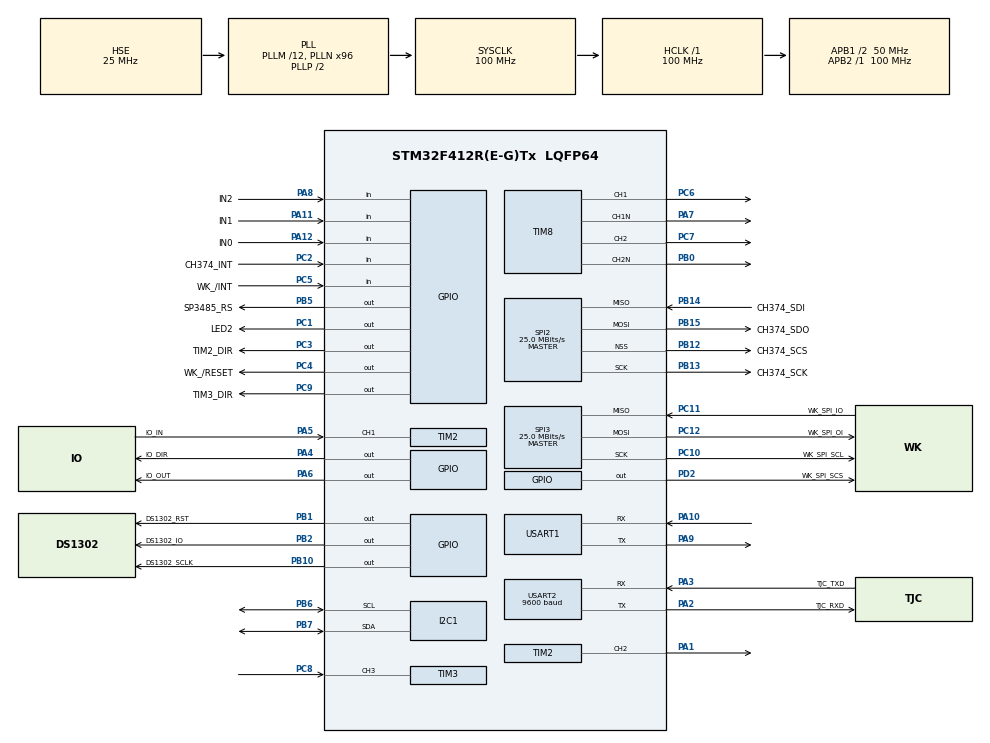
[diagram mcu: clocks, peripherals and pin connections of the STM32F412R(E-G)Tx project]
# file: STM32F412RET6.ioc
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Dma.Request0=USART2_RX
Dma.Request1=USART2_TX
Dma.Request2=USART1_RX
Dma.Request3=USART1_TX
Dma.USART1_RX.2.Direction=DMA_PERIPH_TO_MEMORY
Dma.USART1_RX.2.FIFOMode=DMA_FIFOMODE_DISABLE
Dma.USART1_RX.2.Instance=DMA2_Stream2
Dma.USART1_RX.2.MemDataAlignment=DMA_MDATAALIGN_BYTE
Dma.USART1_RX.2.MemInc=DMA_MINC_ENABLE
Dma.USART1_RX.2.Mode=DMA_NORMAL
Dma.USART1_RX.2.PeriphDataAlignment=DMA_PDATAALIGN_BYTE
Dma.USART1_RX.2.PeriphInc=DMA_PINC_DISABLE
Dma.USART1_RX.2.Priority=DMA_PRIORITY_LOW
Dma.USART1_TX.3.Direction=DMA_MEMORY_TO_PERIPH
Dma.USART1_TX.3.FIFOMode=DMA_FIFOMODE_DISABLE
Dma.USART1_TX.3.Instance=DMA2_Stream7
Dma.USART1_TX.3.MemDataAlignment=DMA_MDATAALIGN_BYTE
Dma.USART1_TX.3.MemInc=DMA_MINC_ENABLE
Dma.USART1_TX.3.Mode=DMA_NORMAL
Dma.USART1_TX.3.PeriphDataAlignment=DMA_PDATAALIGN_BYTE
Dma.USART1_TX.3.PeriphInc=DMA_PINC_DISABLE
Dma.USART1_TX.3.Priority=DMA_PRIORITY_LOW
Dma.USART2_RX.0.Direction=DMA_PERIPH_TO_MEMORY
Dma.USART2_RX.0.FIFOMode=DMA_FIFOMODE_DISABLE
Dma.USART2_RX.0.Instance=DMA1_Stream5
Dma.USART2_RX.0.MemDataAlignment=DMA_MDATAALIGN_BYTE
Dma.USART2_RX.0.MemInc=DMA_MINC_ENABLE
Dma.USART2_RX.0.Mode=DMA_NORMAL
Dma.USART2_RX.0.PeriphDataAlignment=DMA_PDATAALIGN_BYTE
Dma.USART2_RX.0.PeriphInc=DMA_PINC_DISABLE
Dma.USART2_RX.0.Priority=DMA_PRIORITY_LOW
Dma.USART2_TX.1.Direction=DMA_MEMORY_TO_PERIPH
Dma.USART2_TX.1.FIFOMode=DMA_FIFOMODE_DISABLE
Dma.USART2_TX.1.Instance=DMA1_Stream6
Dma.USART2_TX.1.MemDataAlignment=DMA_MDATAALIGN_BYTE
Dma.USART2_TX.1.MemInc=DMA_MINC_ENABLE
Dma.USART2_TX.1.Mode=DMA_NORMAL
Dma.USART2_TX.1.PeriphDataAlignment=DMA_PDATAALIGN_BYTE
Dma.USART2_TX.1.PeriphInc=DMA_PINC_DISABLE
Dma.USART2_TX.1.Priority=DMA_PRIORITY_LOW
FREERTOS.Queues01=Pulse_Reception_Queue,5,uint8_t,0,Dynamic,NULL,NULL;Pulse_Sending_Queue,5,uint8_t,0,Dynamic,NULL,NULL
FREERTOS.Tasks01=defaultTask,24,128,StartDefaultTask,Default,NULL,Dynamic,NULL,NULL;Pulse_acquisitionTask,8,128,Pulse_acquisition,Default,NULL,Dynamic,NULL,NULL;ScreenTask,8,128,Screen,Default,NULL,Dynamic,NULL,NULL;Screen_TransferTask,8,128,Screen_Transfer,Default,NULL,Dynamic,NULL,NULL
FREERTOS.configMAX_TASK_NAME_LEN=32
I2C1.I2C_Mode=I2C_Fast
Mcu.Family=STM32F4
Mcu.Name=STM32F412R(E-G)Tx
Mcu.Package=LQFP64
NVIC.DMA1_Stream5_IRQn=true\:5\:0\:false\:false\:true\:true\:false\:true\:true
NVIC.DMA1_Stream6_IRQn=true\:5\:0\:false\:false\:true\:true\:false\:true\:true
NVIC.DMA2_Stream2_IRQn=true\:5\:0\:false\:false\:true\:true\:false\:true\:true
NVIC.DMA2_Stream7_IRQn=true\:5\:0\:false\:false\:true\:true\:false\:true\:true
NVIC.I2C1_ER_IRQn=true\:5\:0\:false\:false\:true\:true\:true\:true\:true
NVIC.I2C1_EV_IRQn=true\:5\:0\:false\:false\:true\:true\:true\:true\:true
NVIC.PriorityGroup=NVIC_PRIORITYGROUP_4
NVIC.SPI3_IRQn=true\:5\:0\:false\:false\:true\:true\:true\:true\:true
NVIC.TIM1_UP_TIM10_IRQn=true\:15\:0\:false\:false\:true\:false\:false\:true\:true
NVIC.TIM2_IRQn=true\:5\:0\:false\:false\:true\:true\:true\:true\:true
NVIC.TIM3_IRQn=true\:5\:0\:false\:false\:true\:true\:true\:true\:true
NVIC.TIM8_BRK_TIM12_IRQn=true\:5\:0\:false\:false\:true\:true\:true\:true\:true
NVIC.TIM8_CC_IRQn=true\:5\:0\:false\:false\:true\:true\:true\:true\:true
NVIC.TIM8_TRG_COM_TIM14_IRQn=true\:5\:0\:false\:false\:true\:true\:true\:true\:true
NVIC.TIM8_UP_TIM13_IRQn=true\:5\:0\:false\:false\:true\:true\:true\:true\:true
NVIC.TimeBase=TIM1_UP_TIM10_IRQn
NVIC.TimeBaseIP=TIM1
NVIC.USART1_IRQn=true\:5\:0\:false\:false\:true\:true\:true\:true\:true
NVIC.USART2_IRQn=true\:5\:0\:false\:false\:true\:true\:true\:true\:true
PA1.Signal=S_TIM2_CH2
PA10.Mode=Asynchronous
PA10.Signal=USART1_RX
PA11.GPIO_Label=IN1
PA11.Signal=GPIO_Input
PA12.GPIO_Label=IN0
PA12.Signal=GPIO_Input
PA13.GPIO_Label=TMS
PA13.Mode=JTAG_5_pins
PA13.Signal=SYS_JTMS-SWDIO
PA14.GPIO_Label=TCK
PA14.Mode=JTAG_5_pins
PA14.Signal=SYS_JTCK-SWCLK
PA15.GPIO_Label=TDI
PA15.Mode=JTAG_5_pins
PA15.Signal=SYS_JTDI
PA2.GPIO_Label=TJC_RXD
PA2.Mode=Asynchronous
PA2.Signal=USART2_TX
PA3.GPIO_Label=TJC_TXD
PA3.Mode=Asynchronous
PA3.Signal=USART2_RX
PA4.GPIO_Label=IO_DIR
PA4.Signal=GPIO_Output
PA5.GPIO_Label=IO_IN
PA5.GPIO_PuPd=GPIO_PULLDOWN
PA5.Signal=S_TIM2_CH1_ETR
PA6.GPIO_Label=IO_OUT
PA6.Signal=GPIO_Output
PA7.Mode=Output Compare1 CH1 CH1N
PA7.Signal=TIM8_CH1N
PA8.GPIO_Label=IN2
PA8.Signal=GPIO_Input
PA9.Mode=Asynchronous
PA9.Signal=USART1_TX
PB0.Mode=Output Compare2 CH2 CH2N
PB0.Signal=TIM8_CH2N
PB1.GPIO_Label=DS1302_RST
PB1.Signal=GPIO_Output
PB10.GPIO_Label=DS1302_SCLK
PB10.GPIO_PuPd=GPIO_PULLUP
PB10.Signal=GPIO_Output
PB12.GPIO_Label=CH374_SCS
PB12.Mode=NSS_Signal_Hard_Output
PB12.Signal=SPI2_NSS
PB13.GPIO_Label=CH374_SCK
PB13.Mode=Full_Duplex_Master
PB13.Signal=SPI2_SCK
PB14.GPIO_Label=CH374_SDI
PB14.Mode=Full_Duplex_Master
PB14.Signal=SPI2_MISO
PB15.GPIO_Label=CH374_SDO
PB15.Mode=Full_Duplex_Master
PB15.Signal=SPI2_MOSI
PB2.GPIO_Label=DS1302_IO
PB2.Signal=GPIO_Output
PB3.GPIO_Label=TDO
PB3.Mode=JTAG_5_pins
PB3.Signal=SYS_JTDO-SWO
PB4.GPIO_Label=NTRST
PB4.Mode=JTAG_5_pins
PB4.Signal=SYS_JTRST
PB5.GPIO_Label=SP3485_RS
PB5.Signal=GPIO_Output
PB6.Mode=I2C
PB6.Signal=I2C1_SCL
PB7.Mode=I2C
PB7.Signal=I2C1_SDA
PC1.GPIO_Label=LED2
PC1.GPIO_PuPd=GPIO_PULLUP
PC1.Signal=GPIO_Output
PC10.GPIO_Label=WK_SPI_SCL
PC10.Mode=Full_Duplex_Master
PC10.Signal=SPI3_SCK
PC11.GPIO_Label=WK_SPI_IO
PC11.Mode=Full_Duplex_Master
PC11.Signal=SPI3_MISO
PC12.GPIO_Label=WK_SPI_OI
PC12.Mode=Full_Duplex_Master
PC12.Signal=SPI3_MOSI
PC2.GPIO_Label=CH374_INT
PC2.Signal=GPIO_Input
PC3.GPIO_Label=TIM2_DIR
PC3.Signal=GPIO_Output
PC4.GPIO_Label=WK_/RESET
PC4.Signal=GPIO_Output
PC5.GPIO_Label=WK_/INT
PC5.Signal=GPIO_Input
PC6.Signal=S_TIM8_CH1
PC7.Signal=S_TIM8_CH2
PC8.Signal=S_TIM3_CH3
PC9.GPIO_Label=TIM3_DIR
PC9.Signal=GPIO_Output
PD2.GPIO_Label=WK_SPI_SCS
PD2.GPIO_PuPd=GPIO_PULLUP
PD2.Signal=GPIO_Output
PH0\ -\ OSC_IN.Mode=HSE-External-Oscillator
PH0\ -\ OSC_IN.Signal=RCC_OSC_IN
PH1\ -\ OSC_OUT.Mode=HSE-External-Oscillator
PH1\ -\ OSC_OUT.Signal=RCC_OSC_OUT
ProjectManager.HeapSize=0x200
ProjectManager.StackSize=0x400
ProjectManager.TargetToolchain=MDK-ARM V5.32
RCC.AHBFreq_Value=100000000
RCC.APB1CLKDivider=RCC_HCLK_DIV2
RCC.APB1Freq_Value=50000000
RCC.APB1TimFreq_Value=100000000
RCC.APB2Freq_Value=100000000
RCC.APB2TimFreq_Value=100000000
RCC.CortexFreq_Value=100000000
RCC.HCLKFreq_Value=100000000
RCC.PLLM=12
RCC.PLLN=96
RCC.PLLSourceVirtual=RCC_PLLSOURCE_HSE
RCC.SYSCLKFreq_VALUE=100000000
RCC.SYSCLKSource=RCC_SYSCLKSOURCE_PLLCLK
RCC.USBFreq_Value=100000000
RCC.VCOOutputFreq_Value=200000000
SH.S_TIM2_CH1_ETR.0=TIM2_CH1,Input_Capture1_from_TI1
SH.S_TIM2_CH2.0=TIM2_CH2,Output Compare2 CH2
SH.S_TIM3_CH3.0=TIM3_CH3,Input_Capture3_from_TI3
SH.S_TIM8_CH1.0=TIM8_CH1,Output Compare1 CH1 CH1N
SH.S_TIM8_CH2.0=TIM8_CH2,Output Compare2 CH2 CH2N
SPI2.CalculateBaudRate=25.0 MBits/s
SPI2.Direction=SPI_DIRECTION_2LINES
SPI2.Mode=SPI_MODE_MASTER
SPI2.VirtualNSS=VM_NSSHARD
SPI2.VirtualType=VM_MASTER
SPI3.CLKPhase=SPI_PHASE_2EDGE
SPI3.CalculateBaudRate=25.0 MBits/s
SPI3.Direction=SPI_DIRECTION_2LINES
SPI3.Mode=SPI_MODE_MASTER
SPI3.VirtualType=VM_MASTER
TIM2.Channel-Input_Capture1_from_TI1=TIM_CHANNEL_1
TIM2.Channel-Output\ Compare2\ CH2=TIM_CHANNEL_2
TIM2.ICPolarity_CH1=TIM_INPUTCHANNELPOLARITY_BOTHEDGE
TIM2.Period=999
TIM2.Prescaler=99
TIM3.Channel-Input_Capture3_from_TI3=TIM_CHANNEL_3
TIM8.Channel-Output\ Compare1\ CH1\ CH1N=TIM_CHANNEL_1
TIM8.Channel-Output\ Compare2\ CH2\ CH2N=TIM_CHANNEL_2
USART1.VirtualMode=VM_ASYNC
USART2.BaudRate=9600
USART2.VirtualMode=VM_ASYNC
VP_FREERTOS_VS_CMSIS_V2.Mode=CMSIS_V2
VP_SYS_VS_tim1.Mode=TIM1
board=custom

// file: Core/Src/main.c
/* USER CODE BEGIN Header */
/**
  ******************************************************************************
  * @file           : main.c
  * @brief          : Main program body
  ******************************************************************************
  * @attention
  *
  * Copyright (c) 2024 STMicroelectronics.
  * All rights reserved.
  *
  * This software is licensed under terms that can be found in the LICENSE file
  * in the root directory of this software component.
  * If no LICENSE file comes with this software, it is provided AS-IS.
  *
  ******************************************************************************
  */
/* USER CODE END Header */
#include "main.h"
#include "cmsis_os.h"
#include "dma.h"
#include "i2c.h"
#include "spi.h"
#include "tim.h"
#include "usart.h"
#include "gpio.h"

void SystemClock_Config(void);
void MX_FREERTOS_Init(void);

int main(void)
{

  /* MCU Configuration--------------------------------------------------------*/

  /* Reset of all peripherals, Initializes the Flash interface and the Systick. */
  HAL_Init();

  /* Configure the system clock */
  SystemClock_Config();

  /* Initialize all configured peripherals */
  MX_GPIO_Init();
  MX_DMA_Init();
  MX_TIM2_Init();
  MX_USART2_UART_Init();
  MX_USART1_UART_Init();
  MX_I2C1_Init();
  MX_SPI2_Init();
  MX_SPI3_Init();
  MX_TIM3_Init();
  MX_TIM8_Init();

  /* Init scheduler */
  osKernelInitialize();  /* Call init function for freertos objects (in freertos.c) */
  MX_FREERTOS_Init();

  /* Start scheduler */
  osKernelStart();

  /* We should never get here as control is now taken by the scheduler */
  /* Infinite loop */
  while (1)
  {

  }
}

void SystemClock_Config(void)
{
  RCC_OscInitTypeDef RCC_OscInitStruct = {0};
  RCC_ClkInitTypeDef RCC_ClkInitStruct = {0};

  /** Configure the main internal regulator output voltage
  */
  __HAL_RCC_PWR_CLK_ENABLE();
  __HAL_PWR_VOLTAGESCALING_CONFIG(PWR_REGULATOR_VOLTAGE_SCALE1);

  /** Initializes the RCC Oscillators according to the specified parameters
  * in the RCC_OscInitTypeDef structure.
  */
  RCC_OscInitStruct.OscillatorType = RCC_OSCILLATORTYPE_HSE;
  RCC_OscInitStruct.HSEState = RCC_HSE_ON;
  RCC_OscInitStruct.PLL.PLLState = RCC_PLL_ON;
  RCC_OscInitStruct.PLL.PLLSource = RCC_PLLSOURCE_HSE;
  RCC_OscInitStruct.PLL.PLLM = 12;
  RCC_OscInitStruct.PLL.PLLN = 96;
  RCC_OscInitStruct.PLL.PLLP = RCC_PLLP_DIV2;
  RCC_OscInitStruct.PLL.PLLQ = 2;
  RCC_OscInitStruct.PLL.PLLR = 2;
  if (HAL_RCC_OscConfig(&RCC_OscInitStruct) != HAL_OK)
  {
    Error_Handler();
  }

  /** Initializes the CPU, AHB and APB buses clocks
  */
  RCC_ClkInitStruct.ClockType = RCC_CLOCKTYPE_HCLK|RCC_CLOCKTYPE_SYSCLK
                              |RCC_CLOCKTYPE_PCLK1|RCC_CLOCKTYPE_PCLK2;
  RCC_ClkInitStruct.SYSCLKSource = RCC_SYSCLKSOURCE_PLLCLK;
  RCC_ClkInitStruct.AHBCLKDivider = RCC_SYSCLK_DIV1;
  RCC_ClkInitStruct.APB1CLKDivider = RCC_HCLK_DIV2;
  RCC_ClkInitStruct.APB2CLKDivider = RCC_HCLK_DIV1;

  if (HAL_RCC_ClockConfig(&RCC_ClkInitStruct, FLASH_LATENCY_3) != HAL_OK)
  {
    Error_Handler();
  }
}

void HAL_TIM_PeriodElapsedCallback(TIM_HandleTypeDef *htim)
{
  if (htim->Instance == TIM1) {
    HAL_IncTick();
  }
}

void Error_Handler(void)
{
  __disable_irq();
  while (1)
  {
  }
}

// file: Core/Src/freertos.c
/* USER CODE BEGIN Header */
/**
  ******************************************************************************
  * File Name          : freertos.c
  * Description        : Code for freertos applications
  ******************************************************************************
  * @attention
  *
  * Copyright (c) 2024 STMicroelectronics.
  * All rights reserved.
  *
  * This software is licensed under terms that can be found in the LICENSE file
  * in the root directory of this software component.
  * If no LICENSE file comes with this software, it is provided AS-IS.
  *
  ******************************************************************************
  */
/* USER CODE END Header */

#include "FreeRTOS.h"
#include "task.h"
#include "main.h"
#include "cmsis_os.h"

/* Definitions for defaultTask */
osThreadId_t defaultTaskHandle;
const osThreadAttr_t defaultTask_attributes = {
  .name = "defaultTask",
  .stack_size = 128 * 4,
  .priority = (osPriority_t) osPriorityNormal,
};
/* Definitions for Pulse_acquisitionTask */
osThreadId_t Pulse_acquisitionTaskHandle;
const osThreadAttr_t Pulse_acquisitionTask_attributes = {
  .name = "Pulse_acquisitionTask",
  .stack_size = 128 * 4,
  .priority = (osPriority_t) osPriorityLow,
};
/* Definitions for ScreenTask */
osThreadId_t ScreenTaskHandle;
const osThreadAttr_t ScreenTask_attributes = {
  .name = "ScreenTask",
  .stack_size = 128 * 4,
  .priority = (osPriority_t) osPriorityLow,
};
/* Definitions for Screen_TransferTask */
osThreadId_t Screen_TransferTaskHandle;
const osThreadAttr_t Screen_TransferTask_attributes = {
  .name = "Screen_TransferTask",
  .stack_size = 128 * 4,
  .priority = (osPriority_t) osPriorityLow,
};
/* Definitions for Pulse_Reception_Queue */
osMessageQueueId_t Pulse_Reception_QueueHandle;
const osMessageQueueAttr_t Pulse_Reception_Queue_attributes = {
  .name = "Pulse_Reception_Queue"
};
/* Definitions for Pulse_Sending_Queue */
osMessageQueueId_t Pulse_Sending_QueueHandle;
const osMessageQueueAttr_t Pulse_Sending_Queue_attributes = {
  .name = "Pulse_Sending_Queue"
};

/* USER CODE BEGIN FunctionPrototypes */
osThreadId_t EthernetTaskHandle;
const osThreadAttr_t EthernetTask_attributes = {
  .name = "EthernetTask",
  .stack_size = 128 * 4,
  .priority = (osPriority_t) osPriorityLow,
};

void Ethernet(void *argument);
/* USER CODE END FunctionPrototypes */

void StartDefaultTask(void *argument);
void Pulse_acquisition(void *argument);
void Screen(void *argument);
void Screen_Transfer(void *argument);

void MX_FREERTOS_Init(void); /* (MISRA C 2004 rule 8.1) */

void MX_FREERTOS_Init(void) {

  /* Create the queue(s) */
  /* creation of Pulse_Reception_Queue */
  Pulse_Reception_QueueHandle = osMessageQueueNew (5, sizeof(uint8_t), &Pulse_Reception_Queue_attributes);

  /* creation of Pulse_Sending_Queue */
  Pulse_Sending_QueueHandle = osMessageQueueNew (5, sizeof(uint8_t), &Pulse_Sending_Queue_attributes);

  /* Create the thread(s) */
  /* creation of defaultTask */
  defaultTaskHandle = osThreadNew(StartDefaultTask, NULL, &defaultTask_attributes);

  /* creation of Pulse_acquisitionTask */
  Pulse_acquisitionTaskHandle = osThreadNew(Pulse_acquisition, NULL, &Pulse_acquisitionTask_attributes);

  /* creation of ScreenTask */
  ScreenTaskHandle = osThreadNew(Screen, NULL, &ScreenTask_attributes);

  /* creation of Screen_TransferTask */
  Screen_TransferTaskHandle = osThreadNew(Screen_Transfer, NULL, &Screen_TransferTask_attributes);

  /* USER CODE BEGIN RTOS_THREADS */
	EthernetTaskHandle = osThreadNew(Ethernet, NULL, &EthernetTask_attributes);
  /* add threads, ... */
  /* USER CODE END RTOS_THREADS */

}

void StartDefaultTask(void *argument)
{
  for(;;)
  {
    osDelay(1);
  }
}

void Pulse_acquisition(void *argument)
{
  for(;;)
  {
    osDelay(1);
  }
}

void Screen(void *argument)
{
  for(;;)
  {
    osDelay(1);
  }
}

void Screen_Transfer(void *argument)
{
  for(;;)
  {
    osDelay(1);
  }
}

/* USER CODE BEGIN Application */
wiz_NetInfo gWIZNETINFO = {
  .mac = { 0x80, 0x80, 0x80,0x80,0x80,0x80 },//MSB - LSB
  .ip  = { 192, 168, 1, 10 },
  .sn  = { 255, 255, 255, 0 },
  .gw  = { 192, 168, 1, 1 },//网关参数
  .dns  = { 8, 8, 8, 8 },
  .dhcp = NETINFO_STATIC };

void Ethernet(void *argument)
{
	printf("A simple Ping Application using W5500!\r\n");
  W5500Init();//w5500初始化
  ctlnetwork(CN_SET_NETINFO, (void*)&gWIZNETINFO);  //配置网络参数
  wiz_PhyConf phyconf;
  phyconf.by = PHY_CONFBY_SW;
  phyconf.duplex = PHY_DUPLEX_FULL;
  phyconf.speed = PHY_SPEED_10;
  phyconf.mode = PHY_MODE_AUTONEGO;
  ctlwizchip(CW_SET_PHYCONF, (void*)&phyconf); //配置PHY参数
  PHYStatusCheck();//检查网络连接参数
  PrintPHYConf();//打印PHY配置信息
  printf("Simple Ping Application\r\n");
  for(;;)
  {
    osDelay(1);
  }

}

/* USER CODE END Application */
